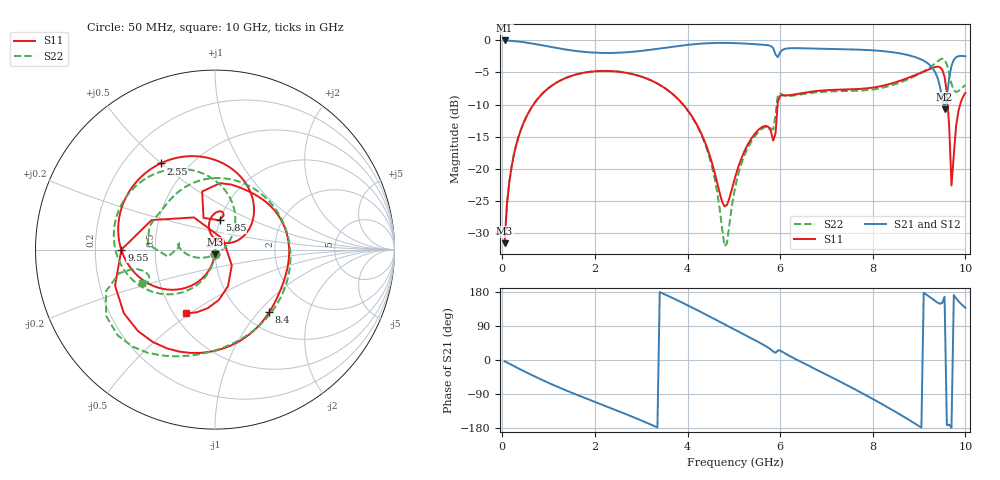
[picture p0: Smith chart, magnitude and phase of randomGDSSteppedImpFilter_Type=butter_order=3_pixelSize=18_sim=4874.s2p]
! freq	dB(S11)	phase(S11)	dB(S12)	phase(S12)
!  dB(S21)	phase(S21)	dB(S22)	phase(S22)
!S-par simulation data
#  GHz  S  DB  R 50
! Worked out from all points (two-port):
!   200 points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, 50 MHz to 10 GHz, reference 50 ohm
!   highest |S21| = -0.01 dB at 50 MHz (marker M1); lowest = -10.7 dB at 9.55 GHz (marker M2)
!   |S21| within 3 dB of the highest: start of sweep to 9.058 GHz; 9.752 GHz to end of sweep
!   lowest |S11| = -31.6 dB at 50 MHz (marker M3), VSWR 1.05, Z = 49.8 - j2.6 ohm
!   |S11| at or under -10 dB: start of sweep to 673.4 MHz; 3.905 GHz to 5.946 GHz (2.041 GHz wide, 41.4 % of centre); 9.617 GHz to 9.887 GHz (269.9 MHz wide, 2.77 % of centre)
!   |S22| runs from -32.1 to -2.8 dB; largest |S21 - S12| = 0
!   S11 on the Smith chart (normalised r, x): 50 MHz: 1.00, -0.05; 2.55 GHz: 0.35, +0.50; 5.85 GHz: 1.00, +0.33; 8.4 GHz: 1.30, -1.15; 9.55 GHz: 0.31, -0.00; 10 GHz: 0.57, -0.48
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0.05  -31.65 -93.5  -0.01 -3.2  -0.01 -3.2  -31.64 -93.1
0.2  -19.71 -104.0  -0.07 -12.9  -0.07 -12.9  -19.70 -102.4
0.5  -12.21 -124.0  -0.32 -31.5  -0.32 -31.5  -12.20 -120.1
1.75  -5.05 163.9  -1.77 -98.7  -1.77 -98.7  -5.04 177.8
2.55  -4.91 122.3  -1.91 -137.0  -1.91 -137.0  -4.90 143.2
3.4  -6.93 75.7  -1.26 179.2  -1.26 179.2  -6.93 103.7
4.35  -15.39 24.6  -0.47 122.8  -0.47 122.8  -15.61 48.5
4.8  -25.88 61.2  -0.39 94.2  -0.39 94.2  -32.07 -43.9
5.05  -20.78 105.0  -0.43 78.3  -0.43 78.3  -22.20 -144.4
5.55  -13.81 89.6  -0.63 46.2  -0.63 46.2  -14.12 177.2
5.85  -15.63 81.1  -1.20 22.5  -1.20 22.5  -13.89 176.2
6  -8.61 85.7  -1.84 25.0  -1.84 25.0  -8.24 160.9
6.7  -7.96 29.5  -1.27 -20.3  -1.27 -20.3  -8.16 108.5
7.6  -7.61 -15.2  -1.42 -76.4  -1.42 -76.4  -7.86 42.7
8.35  -6.82 -46.7  -1.77 -126.8  -1.77 -126.8  -7.12 -25.7
8.4  -6.72 -49.0  -1.82 -130.3  -1.82 -130.3  -7.02 -30.4
9.25  -4.40 -109.4  -3.97 164.6  -3.97 164.6  -4.13 -107.2
9.55  -5.65 -179.9  -10.75 167.1  -10.75 167.1  -2.97 -148.7
9.65  -13.39 123.1  -5.83 -170.6  -5.83 -170.6  -5.18 -166.1
9.7  -22.63 53.0  -3.94 -179.1  -3.94 -179.1  -6.78 -166.8
9.8  -13.29 -70.5  -2.62 162.7  -2.62 162.7  -8.05 -158.1
10  -8.16 -114.5  -2.48 137.7  -2.48 137.7  -6.96 -155.2
